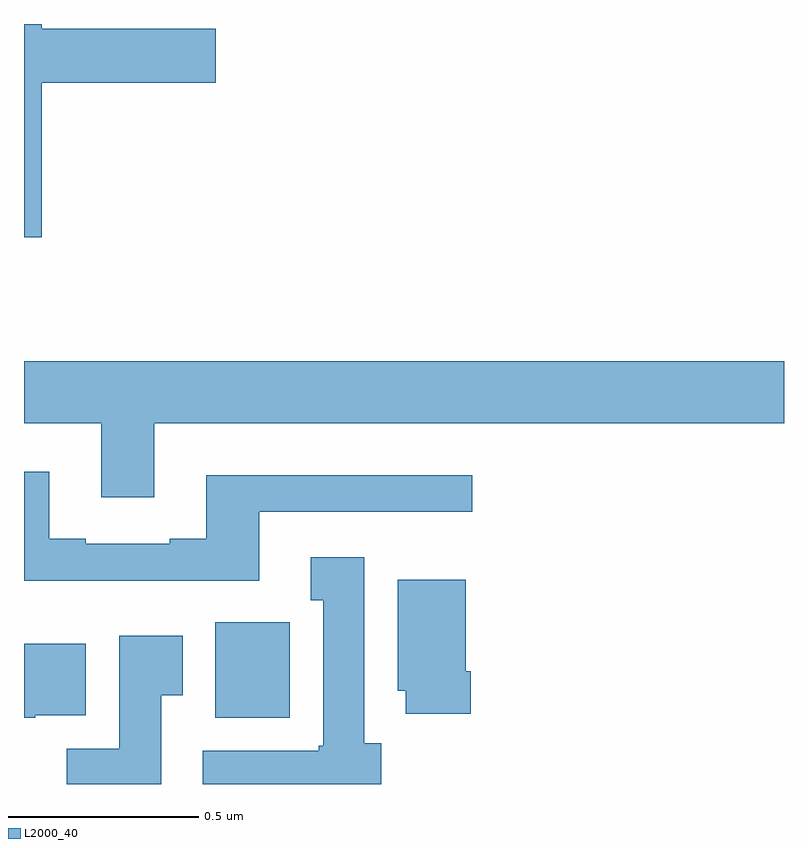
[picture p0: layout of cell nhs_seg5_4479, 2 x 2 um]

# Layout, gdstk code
import gdstk
lib = gdstk.Library(unit=1e-6, precision=1e-09)
def R(c, l, rs):  # rectangles x0, y0, x1, y1
    for r in rs: c.add(gdstk.rectangle(r[:2], r[2:], *l))
def P(c, l, *ps):  # polygons
    for p in ps: c.add(gdstk.Polygon(p, *l))
L2000_40 = (2000, 40)

nhs_seg5_4479 = lib.new_cell('nhs_seg5_4479')
R(nhs_seg5_4479, L2000_40, [(171.503,867.974,171.699,868.225)])
P(nhs_seg5_4479, L2000_40, [(171.047,869.645),(171.505,869.645),(171.505,869.787),(171.047,869.787),(171.047,869.799),(171,869.799),(171,869.238),(171.047,869.238)],
  [(171.343,868.748),(173,868.748),(173,868.912),(171,868.912),(171,868.748),(171.203,868.748),(171.203,868.554),(171.343,868.554)],
  [(171.619,868.515),(172.18,868.515),(172.18,868.612),(171.479,868.612),(171.479,868.444),(171.383,868.444),(171.383,868.431),(171.163,868.431),(171.163,868.444),(171.067,868.444),(171.067,868.621),(171,868.621),(171,868.334),(171.619,868.334)],
  [(171.94,867.906),(171.895,867.906),(171.895,868.396),(171.755,868.396),(171.755,868.283),(171.788,868.283),(171.788,867.9),(171.775,867.9),(171.775,867.886),(171.471,867.886),(171.471,867.799),(171.94,867.799)],
  [(172.175,868.096),(172.162,868.096),(172.162,868.336),(171.983,868.336),(171.983,868.044),(172.004,868.044),(172.004,867.984),(172.175,867.984)],
  [(171.361,868.033),(171.418,868.033),(171.418,868.189),(171.251,868.189),(171.251,867.892),(171.112,867.892),(171.112,867.799),(171.361,867.799)],
  [(171.03,867.98),(171.163,867.98),(171.163,868.168),(171,868.168),(171,867.974),(171.03,867.974)])

lib.write_gds('nhs_seg5_4479.gds')
